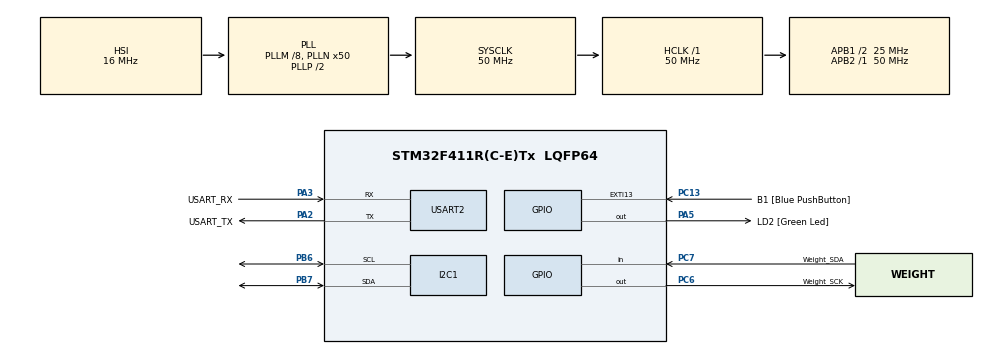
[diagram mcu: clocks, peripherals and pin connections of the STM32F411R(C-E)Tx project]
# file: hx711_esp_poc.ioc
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I2C1.OwnAddress=1
Mcu.Family=STM32F4
Mcu.Name=STM32F411R(C-E)Tx
Mcu.Package=LQFP64
NVIC.PriorityGroup=NVIC_PRIORITYGROUP_0
PA13.GPIO_Label=TMS
PA13.Mode=Serial_Wire
PA13.Signal=SYS_JTMS-SWDIO
PA14.GPIO_Label=TCK
PA14.Mode=Serial_Wire
PA14.Signal=SYS_JTCK-SWCLK
PA2.GPIO_Label=USART_TX
PA2.Mode=Asynchronous
PA2.Signal=USART2_TX
PA3.GPIO_Label=USART_RX
PA3.Mode=Asynchronous
PA3.Signal=USART2_RX
PA5.GPIO_Label=LD2 [Green Led]
PA5.Signal=GPIO_Output
PB3.GPIO_Label=SWO
PB3.Signal=SYS_JTDO-SWO
PB6.Mode=I2C
PB6.Signal=I2C1_SCL
PB7.Mode=I2C
PB7.Signal=I2C1_SDA
PC13-ANTI_TAMP.GPIO_Label=B1 [Blue PushButton]
PC13-ANTI_TAMP.GPIO_ModeDefaultEXTI=GPIO_MODE_IT_FALLING
PC13-ANTI_TAMP.Signal=GPXTI13
PC14-OSC32_IN.Mode=LSE-External-Oscillator
PC14-OSC32_IN.Signal=RCC_OSC32_IN
PC15-OSC32_OUT.Mode=LSE-External-Oscillator
PC15-OSC32_OUT.Signal=RCC_OSC32_OUT
PC6.GPIO_Label=Weight_SCK
PC6.Signal=GPIO_Output
PC7.GPIO_Label=Weight_SDA
PC7.Signal=GPIO_Input
PH0\ -\ OSC_IN.Mode=HSE-External-Clock-Source
PH0\ -\ OSC_IN.Signal=RCC_OSC_IN
PH1\ -\ OSC_OUT.Mode=HSE-External-Clock-Source
PH1\ -\ OSC_OUT.Signal=RCC_OSC_OUT
ProjectManager.HeapSize=0x200
ProjectManager.StackSize=0x400
ProjectManager.TargetToolchain=STM32CubeIDE
RCC.48MHZClocksFreq_Value=25000000
RCC.AHBFreq_Value=50000000
RCC.APB1CLKDivider=RCC_HCLK_DIV2
RCC.APB1Freq_Value=25000000
RCC.APB1TimFreq_Value=50000000
RCC.APB2Freq_Value=50000000
RCC.APB2TimFreq_Value=50000000
RCC.CortexFreq_Value=50000000
RCC.FLatency-AdvancedSettings=FLASH_LATENCY_1
RCC.HCLKFreq_Value=50000000
RCC.HSE_VALUE=8000000
RCC.HSI_VALUE=16000000
RCC.PLLM=8
RCC.PLLN=50
RCC.SYSCLKFreq_VALUE=50000000
RCC.SYSCLKSource=RCC_SYSCLKSOURCE_PLLCLK
RCC.VCOOutputFreq_Value=100000000
USART2.VirtualMode=VM_ASYNC
board=NUCLEO-F411RE

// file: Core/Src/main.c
/* USER CODE BEGIN Header */
/**
  ******************************************************************************
  * @file           : main.c
  * @brief          : Main program body
  ******************************************************************************
  * @attention
  *
  * Copyright (c) 2022 STMicroelectronics.
  * All rights reserved.
  *
  * This software is licensed under terms that can be found in the LICENSE file
  * in the root directory of this software component.
  * If no LICENSE file comes with this software, it is provided AS-IS.
  *
  ******************************************************************************
  */
/* USER CODE END Header */
#include "main.h"

I2C_HandleTypeDef hi2c1;

UART_HandleTypeDef huart2;

/* USER CODE BEGIN PV */
const uint32_t AVERAGE_ROUND = 10;
uint32_t base_weight = 0;
uint32_t result_offset = 5000;
uint32_t divider = 80;
/* USER CODE END PV */

void SystemClock_Config(void);
static void MX_GPIO_Init(void);
static void MX_USART2_UART_Init(void);
static void MX_I2C1_Init(void);
/* USER CODE BEGIN PFP */

/**
 * Use for delay in microsecond (Reference to clock speed) by called assembly instruction NOP
 * Credit to https://github.com/nimaltd/HX711/blob/a5a317e818fee1aa02c729257cff0308e5ac61c0/hx711.c#L10
 */

void hx711_delay_us(uint32_t delay)
{
  while (delay > 0)
  {
    delay--;
    asm("NOP");
  }
}

/**
 *  All credit to
 *	- https://cdn.sparkfun.com/datasheets/Sensors/ForceFlex/hx711_english.pdf (Main Structure)
 *	- https://github.com/nimaltd/HX711/blob/master/hx711.c (Timeout Part)
 */
uint32_t read_weight(uint8_t tuning) {
	uint32_t count = 0;
	uint32_t startTime = HAL_GetTick();
	uint8_t found = 1;
	while(HAL_GPIO_ReadPin(Weight_SDA_GPIO_Port, Weight_SDA_Pin)) {
		 HAL_Delay(1);

		 // Timeout
		 if(HAL_GetTick() - startTime > 150) {
		  	found = 0;
		  	break;
		 }
	}

	if(!found) {
		return 0;
	}

	for(int i = 0; i < 24; ++i) {
		HAL_GPIO_WritePin(Weight_SCK_GPIO_Port, Weight_SCK_Pin, GPIO_PIN_SET);
		hx711_delay_us(100);

		count <<= 1;

		HAL_GPIO_WritePin(Weight_SCK_GPIO_Port, Weight_SCK_Pin, GPIO_PIN_RESET);
		hx711_delay_us(100);
		if(HAL_GPIO_ReadPin(Weight_SDA_GPIO_Port, Weight_SDA_Pin) == GPIO_PIN_SET) ++count;
	}

	count ^= 0x800000;

	if(tuning == 1) return count;
	if(count < base_weight) return 0;
	return (count - base_weight);
}

uint32_t read_weight_average() {
	uint32_t now = 0;
	for(int i = 0; i < AVERAGE_ROUND; ++i) {
		uint32_t nxt = read_weight(0) / divider;

		now += nxt;
		if(nxt == 0) {
			--i;
			continue;
		}
	}

	if(now <= result_offset) return 0;
	return ((now - result_offset) / AVERAGE_ROUND);
}

void set_zero_weight() {
	uint32_t now = 0;
	for(int i = 0; i < AVERAGE_ROUND; ++i) {
		uint32_t nxt = read_weight(1);
		now += nxt;
		if(nxt == 0) {
			--i;
			continue;
		}
	}

	now /= AVERAGE_ROUND;
	base_weight = now;
}
/* USER CODE END PFP */

int main(void)
{

  /* MCU Configuration--------------------------------------------------------*/

  /* Reset of all peripherals, Initializes the Flash interface and the Systick. */
  HAL_Init();

  /* Configure the system clock */
  SystemClock_Config();

  /* Initialize all configured peripherals */
  MX_GPIO_Init();
  MX_USART2_UART_Init();
  MX_I2C1_Init();
  /* USER CODE BEGIN 2 */

  // Tuning
  for(int i = 0; i < 10; ++i) {
  	  set_zero_weight();
  }
  HAL_GPIO_WritePin(LD2_GPIO_Port, LD2_Pin, GPIO_PIN_SET);
  /* USER CODE END 2 */

  /* Infinite loop */
  /* USER CODE BEGIN WHILE */
  while (1)
  {
	  /**
	   * Weight sensing part
	   */
	  GPIO_PinState btn = HAL_GPIO_ReadPin(B1_GPIO_Port, B1_Pin);
	  uint32_t now_weight = read_weight_average();

	  uint8_t ch[30] = "";
	  uint8_t szch[2] = "";
	  int sz = sprintf(ch, "%d", now_weight);

	  if(sz < 10) {
		  sprintf(szch, "0%d", sz);
	  } else {
		  sprintf(szch, "%d", sz);
	  }

	  HAL_StatusTypeDef result_sz =  HAL_I2C_Slave_Transmit(&hi2c1, szch, 2, 10000);
	  if(result_sz == HAL_OK) {
		  HAL_I2C_Slave_Transmit(&hi2c1, ch, sz, 10000);
	  }

	  if(btn == GPIO_PIN_RESET) {
		  set_zero_weight();
		  while(HAL_GPIO_ReadPin(B1_GPIO_Port, B1_Pin) == GPIO_PIN_RESET) HAL_Delay(50);
	  }
	  HAL_Delay(200);

	  /**
	   * LDR Part
	   */

	  HAL_ADC_Start(&hadc1);
	  HAL_ADC_PollForConversion(&hadc1, 1);
	  AD_RES = HAL_ADC_GetValue(&hadc1);

	  float tmp = AD_RES;
	  float calC = (1.0 - (mx - tmp) / (mx - mn));
	  if(tmp < mn) calC = 0;
	  else if(tmp > mx) calC = ARR;
    /* USER CODE END WHILE */

  }
}

void SystemClock_Config(void)
{
  RCC_OscInitTypeDef RCC_OscInitStruct = {0};
  RCC_ClkInitTypeDef RCC_ClkInitStruct = {0};

  /** Configure the main internal regulator output voltage
  */
  __HAL_RCC_PWR_CLK_ENABLE();
  __HAL_PWR_VOLTAGESCALING_CONFIG(PWR_REGULATOR_VOLTAGE_SCALE1);
  /** Initializes the RCC Oscillators according to the specified parameters
  * in the RCC_OscInitTypeDef structure.
  */
  RCC_OscInitStruct.OscillatorType = RCC_OSCILLATORTYPE_HSI;
  RCC_OscInitStruct.HSIState = RCC_HSI_ON;
  RCC_OscInitStruct.HSICalibrationValue = RCC_HSICALIBRATION_DEFAULT;
  RCC_OscInitStruct.PLL.PLLState = RCC_PLL_ON;
  RCC_OscInitStruct.PLL.PLLSource = RCC_PLLSOURCE_HSI;
  RCC_OscInitStruct.PLL.PLLM = 8;
  RCC_OscInitStruct.PLL.PLLN = 50;
  RCC_OscInitStruct.PLL.PLLP = RCC_PLLP_DIV2;
  RCC_OscInitStruct.PLL.PLLQ = 4;
  if (HAL_RCC_OscConfig(&RCC_OscInitStruct) != HAL_OK)
  {
    Error_Handler();
  }
  /** Initializes the CPU, AHB and APB buses clocks
  */
  RCC_ClkInitStruct.ClockType = RCC_CLOCKTYPE_HCLK|RCC_CLOCKTYPE_SYSCLK
                              |RCC_CLOCKTYPE_PCLK1|RCC_CLOCKTYPE_PCLK2;
  RCC_ClkInitStruct.SYSCLKSource = RCC_SYSCLKSOURCE_PLLCLK;
  RCC_ClkInitStruct.AHBCLKDivider = RCC_SYSCLK_DIV1;
  RCC_ClkInitStruct.APB1CLKDivider = RCC_HCLK_DIV2;
  RCC_ClkInitStruct.APB2CLKDivider = RCC_HCLK_DIV1;

  if (HAL_RCC_ClockConfig(&RCC_ClkInitStruct, FLASH_LATENCY_1) != HAL_OK)
  {
    Error_Handler();
  }
}

static void MX_I2C1_Init(void)
{

  hi2c1.Instance = I2C1;
  hi2c1.Init.ClockSpeed = 100000;
  hi2c1.Init.DutyCycle = I2C_DUTYCYCLE_2;
  hi2c1.Init.OwnAddress1 = 2;
  hi2c1.Init.AddressingMode = I2C_ADDRESSINGMODE_7BIT;
  hi2c1.Init.DualAddressMode = I2C_DUALADDRESS_DISABLE;
  hi2c1.Init.OwnAddress2 = 0;
  hi2c1.Init.GeneralCallMode = I2C_GENERALCALL_DISABLE;
  hi2c1.Init.NoStretchMode = I2C_NOSTRETCH_DISABLE;
  if (HAL_I2C_Init(&hi2c1) != HAL_OK)
  {
    Error_Handler();
  }

}

static void MX_USART2_UART_Init(void)
{

  huart2.Instance = USART2;
  huart2.Init.BaudRate = 115200;
  huart2.Init.WordLength = UART_WORDLENGTH_8B;
  huart2.Init.StopBits = UART_STOPBITS_1;
  huart2.Init.Parity = UART_PARITY_NONE;
  huart2.Init.Mode = UART_MODE_TX_RX;
  huart2.Init.HwFlowCtl = UART_HWCONTROL_NONE;
  huart2.Init.OverSampling = UART_OVERSAMPLING_16;
  if (HAL_UART_Init(&huart2) != HAL_OK)
  {
    Error_Handler();
  }

}

static void MX_GPIO_Init(void)
{
  GPIO_InitTypeDef GPIO_InitStruct = {0};

  /* GPIO Ports Clock Enable */
  __HAL_RCC_GPIOC_CLK_ENABLE();
  __HAL_RCC_GPIOH_CLK_ENABLE();
  __HAL_RCC_GPIOA_CLK_ENABLE();
  __HAL_RCC_GPIOB_CLK_ENABLE();

  /*Configure GPIO pin Output Level */
  HAL_GPIO_WritePin(LD2_GPIO_Port, LD2_Pin, GPIO_PIN_RESET);

  /*Configure GPIO pin Output Level */
  HAL_GPIO_WritePin(Weight_SCK_GPIO_Port, Weight_SCK_Pin, GPIO_PIN_RESET);

  /*Configure GPIO pin : B1_Pin */
  GPIO_InitStruct.Pin = B1_Pin;
  GPIO_InitStruct.Mode = GPIO_MODE_IT_FALLING;
  GPIO_InitStruct.Pull = GPIO_NOPULL;
  HAL_GPIO_Init(B1_GPIO_Port, &GPIO_InitStruct);

  /*Configure GPIO pin : LD2_Pin */
  GPIO_InitStruct.Pin = LD2_Pin;
  GPIO_InitStruct.Mode = GPIO_MODE_OUTPUT_PP;
  GPIO_InitStruct.Pull = GPIO_NOPULL;
  GPIO_InitStruct.Speed = GPIO_SPEED_FREQ_LOW;
  HAL_GPIO_Init(LD2_GPIO_Port, &GPIO_InitStruct);

  /*Configure GPIO pin : Weight_SCK_Pin */
  GPIO_InitStruct.Pin = Weight_SCK_Pin;
  GPIO_InitStruct.Mode = GPIO_MODE_OUTPUT_PP;
  GPIO_InitStruct.Pull = GPIO_NOPULL;
  GPIO_InitStruct.Speed = GPIO_SPEED_FREQ_LOW;
  HAL_GPIO_Init(Weight_SCK_GPIO_Port, &GPIO_InitStruct);

  /*Configure GPIO pin : Weight_SDA_Pin */
  GPIO_InitStruct.Pin = Weight_SDA_Pin;
  GPIO_InitStruct.Mode = GPIO_MODE_INPUT;
  GPIO_InitStruct.Pull = GPIO_NOPULL;
  HAL_GPIO_Init(Weight_SDA_GPIO_Port, &GPIO_InitStruct);

}

void Error_Handler(void)
{
  __disable_irq();
  while (1)
  {
  }
}
